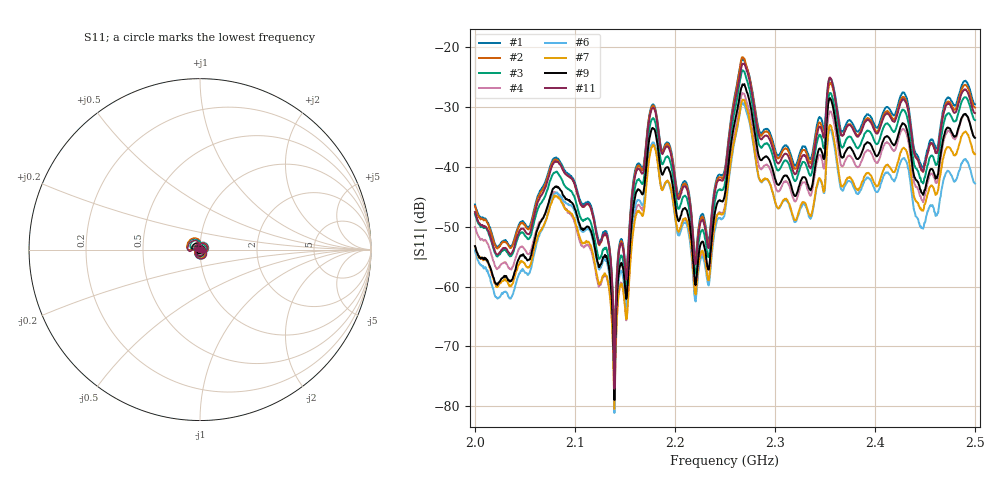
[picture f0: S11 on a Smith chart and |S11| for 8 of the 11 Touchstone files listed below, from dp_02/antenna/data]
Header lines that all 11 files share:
! Touchstone 1.1 file saved by VNA.EXE V1.65 (www.ke5fx.com/gpib/readme.htm)
!  Source: HEWLETT PACKARD,8753D,0,6.14
!  Min freq: 2.000000E+009 Hz
!  Max freq: 2.500000E+009 Hz
!  Points: 801
!  Params: S21
# GHZ S MA R 50
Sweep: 2 GHz to 2.5 GHz
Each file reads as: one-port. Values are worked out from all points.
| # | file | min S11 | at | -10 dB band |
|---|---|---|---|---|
| 1 | 0.S1P | -79.2 dB | 2.139 GHz | over 500 MHz wide |
| 2 | 20.S1P | -77.5 dB | 2.139 GHz | over 500 MHz wide |
| 3 | 40.S1P | -77.2 dB | 2.139 GHz | over 500 MHz wide |
| 4 | 60.S1P | -80.9 dB | 2.139 GHz | over 500 MHz wide |
| 5 | 160.S1P | -80.8 dB | 2.139 GHz | over 500 MHz wide |
| 6 | 180.S1P | -81.1 dB | 2.139 GHz | over 500 MHz wide |
| 7 | 200.S1P | -80.4 dB | 2.139 GHz | over 500 MHz wide |
| 8 | 280.S1P | -80.9 dB | 2.139 GHz | over 500 MHz wide |
| 9 | 300.S1P | -78.9 dB | 2.139 GHz | over 500 MHz wide |
| 10 | 320.S1P | -77.0 dB | 2.139 GHz | over 500 MHz wide |
| 11 | 340.S1P | -77.1 dB | 2.139 GHz | over 500 MHz wide |
